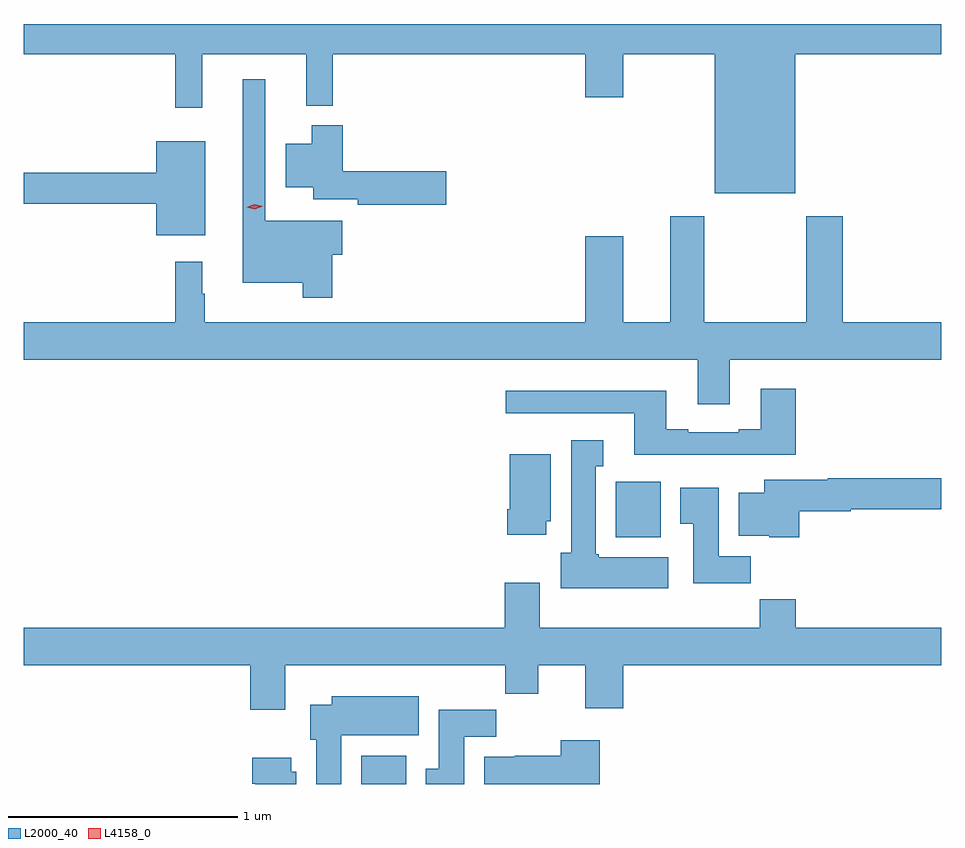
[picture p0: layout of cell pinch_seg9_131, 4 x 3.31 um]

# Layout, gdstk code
import gdstk
lib = gdstk.Library(unit=1e-6, precision=1e-09)
def R(c, l, rs):  # rectangles x0, y0, x1, y1
    for r in rs: c.add(gdstk.rectangle(r[:2], r[2:], *l))
def P(c, l, *ps):  # polygons
    for p in ps: c.add(gdstk.Polygon(p, *l))
L2000_40 = (2000, 40)
L4158_0 = (4158, 0)

pinch_seg9_131 = lib.new_cell('pinch_seg9_131')
R(pinch_seg9_131, L2000_40, [(787.406,1245.186,787.603,1245.31), (788.516,1246.262,788.713,1246.504)])
P(pinch_seg9_131, L2000_40, [(789.298,1248.368),(789.935,1248.368),(789.935,1248.5),(785.935,1248.5),(785.935,1248.368),(786.595,1248.368),(786.595,1248.135),(786.713,1248.135),(786.713,1248.368),(787.166,1248.368),(787.166,1248.143),(787.283,1248.143),(787.283,1248.368),(788.384,1248.368),(788.384,1248.18),(788.548,1248.18),(788.548,1248.368),(788.948,1248.368),(788.948,1247.762),(789.298,1247.762)],
  [(787.28,1247.494),(787.324,1247.494),(787.324,1247.641),(786.987,1247.641),(786.987,1248.259),(786.89,1248.259),(786.89,1247.372),(787.152,1247.372),(787.152,1247.307),(787.28,1247.307)],
  [(787.777,1247.858),(787.325,1247.858),(787.325,1248.058),(787.19,1248.058),(787.19,1247.977),(787.076,1247.977),(787.076,1247.789),(787.196,1247.789),(787.196,1247.735),(787.392,1247.735),(787.392,1247.711),(787.777,1247.711)],
  [(786.727,1247.989),(786.512,1247.989),(786.512,1247.852),(785.935,1247.852),(785.935,1247.716),(786.512,1247.716),(786.512,1247.579),(786.727,1247.579)],
  [(789.013,1247.036),(789.935,1247.036),(789.935,1247.2),(789.506,1247.2),(789.506,1247.662),(789.346,1247.662),(789.346,1247.2),(788.901,1247.2),(788.901,1247.662),(788.753,1247.662),(788.753,1247.2),(788.548,1247.2),(788.548,1247.575),(788.384,1247.575),(788.384,1247.2),(786.724,1247.2),(786.724,1247.324),(786.712,1247.324),(786.712,1247.464),(786.595,1247.464),(786.595,1247.2),(785.935,1247.2),(785.935,1247.036),(788.873,1247.036),(788.873,1246.842),(789.013,1246.842)],
  [(789.302,1246.909),(789.149,1246.909),(789.149,1246.732),(789.053,1246.732),(789.053,1246.719),(788.833,1246.719),(788.833,1246.732),(788.737,1246.732),(788.737,1246.9),(788.037,1246.9),(788.037,1246.803),(788.597,1246.803),(788.597,1246.622),(789.302,1246.622)],
  [(788.746,1246.174),(788.442,1246.174),(788.442,1246.188),(788.428,1246.188),(788.428,1246.571),(788.461,1246.571),(788.461,1246.684),(788.321,1246.684),(788.321,1246.194),(788.276,1246.194),(788.276,1246.04),(788.746,1246.04)],
  [(788.212,1246.332),(788.233,1246.332),(788.233,1246.624),(788.054,1246.624),(788.054,1246.384),(788.042,1246.384),(788.042,1246.272),(788.212,1246.272)],
  [(789.317,1246.376),(789.54,1246.376),(789.54,1246.384),(789.935,1246.384),(789.935,1246.52),(789.44,1246.52),(789.44,1246.513),(789.164,1246.513),(789.164,1246.456),(789.053,1246.456),(789.053,1246.268),(789.186,1246.268),(789.186,1246.262),(789.317,1246.262)],
  [(789.104,1246.18),(788.965,1246.18),(788.965,1246.477),(788.798,1246.477),(788.798,1246.321),(788.855,1246.321),(788.855,1246.062),(789.104,1246.062)],
  [(787.075,1245.704),(788.035,1245.704),(788.035,1245.58),(788.179,1245.58),(788.179,1245.704),(788.384,1245.704),(788.384,1245.516),(788.548,1245.516),(788.548,1245.704),(789.935,1245.704),(789.935,1245.868),(789.302,1245.868),(789.302,1245.992),(789.145,1245.992),(789.145,1245.868),(788.185,1245.868),(788.185,1246.063),(788.033,1246.063),(788.033,1245.868),(785.935,1245.868),(785.935,1245.704),(786.923,1245.704),(786.923,1245.51),(787.075,1245.51)],
  [(787.318,1245.398),(787.657,1245.398),(787.657,1245.568),(787.277,1245.568),(787.277,1245.532),(787.184,1245.532),(787.184,1245.378),(787.211,1245.378),(787.211,1245.186),(787.318,1245.186)],
  [(787.855,1245.392),(787.994,1245.392),(787.994,1245.51),(787.745,1245.51),(787.745,1245.252),(787.688,1245.252),(787.688,1245.186),(787.855,1245.186)],
  [(788.447,1245.376),(788.276,1245.376),(788.276,1245.31),(788.076,1245.31),(788.076,1245.304),(787.943,1245.304),(787.943,1245.186),(788.447,1245.186)],
  [(787.123,1245.24),(787.102,1245.24),(787.102,1245.301),(786.932,1245.301),(786.932,1245.188),(786.944,1245.188),(786.944,1245.186),(787.123,1245.186)])
P(pinch_seg9_131, L4158_0, [(786.942,1247.693),(786.906,1247.7),(786.906,1247.701),(786.906,1247.701),(786.94,1247.713),(786.976,1247.706),(786.977,1247.706),(786.976,1247.706)])

lib.write_gds('pinch_seg9_131.gds')
